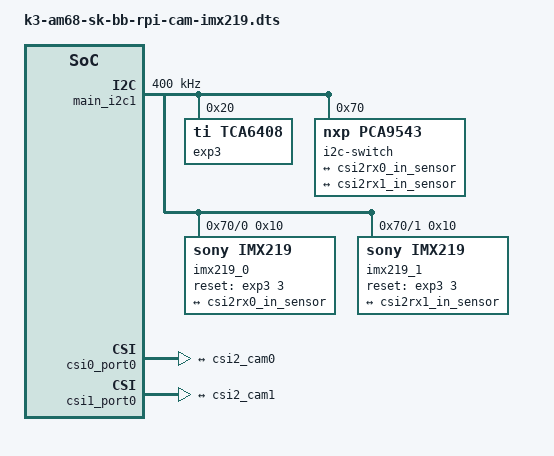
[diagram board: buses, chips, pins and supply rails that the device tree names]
// SPDX-License-Identifier: GPL-2.0
/**
 * DT Overlay for RPi Camera V2.1 (Sony IMX219) interfaced with CSI2 on AM68-SK board.
 *
 * Copyright (C) 2022 Texas Instruments Incorporated - https://www.ti.com/
 */

/dts-v1/;
/plugin/;

#include <dt-bindings/gpio/gpio.h>
#include <dt-bindings/interrupt-controller/irq.h>
#include <dt-bindings/pinctrl/k3.h>

/ {
	fragment@101 {
		target-path = "/";

		__overlay__ {
			clk_imx219_fixed: imx219-xclk {
				compatible = "fixed-clock";
				#clock-cells = <0>;
				clock-frequency = <24000000>;
			};
		};
	};
};

&main_pmx0 {
	main_i2c1_pins_default: main-i2c1-pins-default {
		pinctrl-single,pins = <
			J721S2_IOPAD(0x0ac, PIN_INPUT, 13) /* (AC25) MCASP0_AXR15.I2C1_SCL */
			J721S2_IOPAD(0x0b0, PIN_INPUT, 13) /* (AD26) MCASP1_AXR3.I2C1_SDA */
		>;
	};
};

&main_i2c1 {
	status = "okay";
	#address-cells = <1>;
	#size-cells = <0>;
	pinctrl-names = "default";
	pinctrl-0 = <&main_i2c1_pins_default>;
	clock-frequency = <400000>;

	exp3: gpio@20 {
		compatible = "ti,tca6408";
		reg = <0x20>;
		gpio-controller;
		#gpio-cells = <2>;
		gpio-line-names = "CSI_VIO_SEL", "CSI_SEL_FPC_EXPn",
				"IO_EXP_CSI2_EXP_RSTz","CSI0_B_GPIO1",
				"CSI1_B_GPIO1";

		p01-hog {
			/* CSI_MUX_SEL_2*/
			gpio-hog;
			gpios = <1 GPIO_ACTIVE_HIGH>;
			output-high;
			line-name = "CSI_MUX_SEL_2";
		};
	};

	i2c-switch@70 {
		compatible = "nxp,pca9543";
		#address-cells = <1>;
		#size-cells = <0>;
		reg = <0x70>;

		i2c-alias-pool = /bits/ 16 <0x10 0x11>;

		/* CAM0 I2C */
		cam0_i2c: i2c@0 {
			#address-cells = <1>;
			#size-cells = <0>;
			reg = <0>;

			imx219_0: imx219_0@10 {
				compatible = "sony,imx219";
				reg = <0x10>;

				clocks = <&clk_imx219_fixed>;
				clock-names = "xclk";

				reset-gpios = <&exp3 3 GPIO_ACTIVE_HIGH>;

				port {
					csi2_cam0: endpoint {
						remote-endpoint = <&csi2rx0_in_sensor>;
						link-frequencies = /bits/ 64 <456000000>;
						clock-lanes = <0>;
						data-lanes = <1 2>;
					};
				};
			};
		};

		/* CAM1 I2C */
		cam1_i2c: i2c@1 {
			#address-cells = <1>;
			#size-cells = <0>;
			reg = <1>;

			imx219_1: imx219_1@10 {
				compatible = "sony,imx219";
				reg = <0x10>;

				clocks = <&clk_imx219_fixed>;
				clock-names = "xclk";

				reset-gpios = <&exp3 3 GPIO_ACTIVE_HIGH>;

				port {
					csi2_cam1: endpoint {
						remote-endpoint = <&csi2rx1_in_sensor>;
						link-frequencies = /bits/ 64 <456000000>;
						clock-lanes = <0>;
						data-lanes = <1 2>;
					};
				};
			};
		};
	};
};

&csi0_port0 {
	status = "okay";
	csi2rx0_in_sensor: endpoint {
		remote-endpoint = <&csi2_cam0>;
		bus-type = <4>; /* CSI2 DPHY. */
		clock-lanes = <0>;
		data-lanes = <1 2>;
	};
};

&csi1_port0 {
	status = "okay";
	csi2rx1_in_sensor: endpoint {
		remote-endpoint = <&csi2_cam1>;
		bus-type = <4>; /* CSI2 DPHY. */
		clock-lanes = <0>;
		data-lanes = <1 2>;
	};
};
